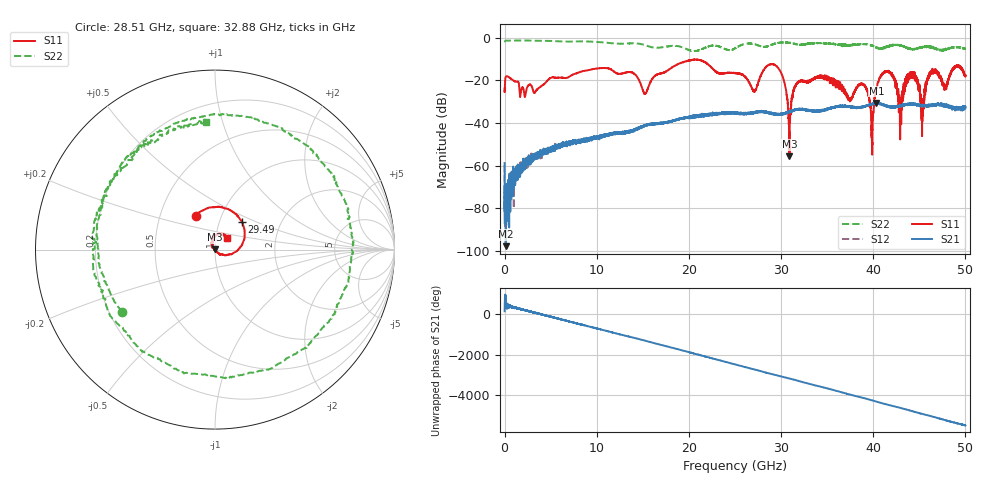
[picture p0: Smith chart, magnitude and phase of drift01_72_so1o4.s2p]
!Created with skrf (http://scikit-rf.org).
# Hz S RI R 50.0
!freq ReS11 ImS11 ReS21 ImS21 ReS12 ImS12 ReS22 ImS22
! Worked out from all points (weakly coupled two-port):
!   10001 points, 300 kHz to 50 GHz, reference 50 ohm
!   highest |S21| = -30.60 dB at 40.34 GHz (marker M1); lowest = -97.8 dB at 145.3 MHz (marker M2)
!   lowest |S11| = -55.7 dB at 30.91 GHz (marker M3), VSWR 1.00, Z = 49.8 + j0.0585 ohm
!   |S11| at or under -10 dB: start of sweep to end of sweep
!   |S22| runs from -6.4 to -1.4 dB; largest |S21 - S12| = 0.004
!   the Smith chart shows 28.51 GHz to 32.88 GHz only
!   S11 on the Smith chart (normalised r, x): 28.51 GHz: 0.76, +0.30; 29.49 GHz: 1.27, +0.42; 32.88 GHz: 1.13, +0.15
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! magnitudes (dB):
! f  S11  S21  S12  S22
! 300 kHz  -23.9  -58.9  -59.7  -2.2
! 145.3 MHz  -18.3  -97.8  -83.9  -1.5
! 8.335 GHz  -15.9  -48.4  -48.7  -1.8
! 15.23 GHz  -26.4  -41.2  -41.3  -3.5
! 16.67 GHz  -17.1  -40.2  -40.3  -4.8
! 25 GHz  -16.6  -35.4  -35.4  -5.0
! 27.09 GHz  -25.1  -34.9  -35.2  -3.0
! 28.51 GHz  -13.3  -34.8  -35.0  -4.1
! 29.49 GHz  -13.3  -36.0  -35.7  -2.6
! 30.91 GHz  -55.7  -34.9  -34.9  -2.5
! 31.62 GHz  -22.1  -33.6  -33.9  -3.0
! 32.88 GHz  -20.7  -34.0  -34.1  -2.9
! 33.34 GHz  -19.9  -34.2  -34.5  -2.7
! 38.92 GHz  -22.1  -32.3  -32.5  -3.1
! 39.86 GHz  -47.9  -31.3  -31.3  -3.6
! 40.34 GHz  -23.7  -30.6  -30.7  -4.5
! 41.67 GHz  -15.6  -32.1  -32.4  -4.1
! 42.97 GHz  -32.4  -32.2  -31.8  -3.5
! 44 GHz  -17.0  -31.2  -31.3  -5.1
! 45.31 GHz  -44.9  -32.1  -32.2  -4.4
! 46.42 GHz  -15.4  -31.6  -31.8  -4.9
! 50 GHz  -17.7  -32.6  -32.7  -5.3
